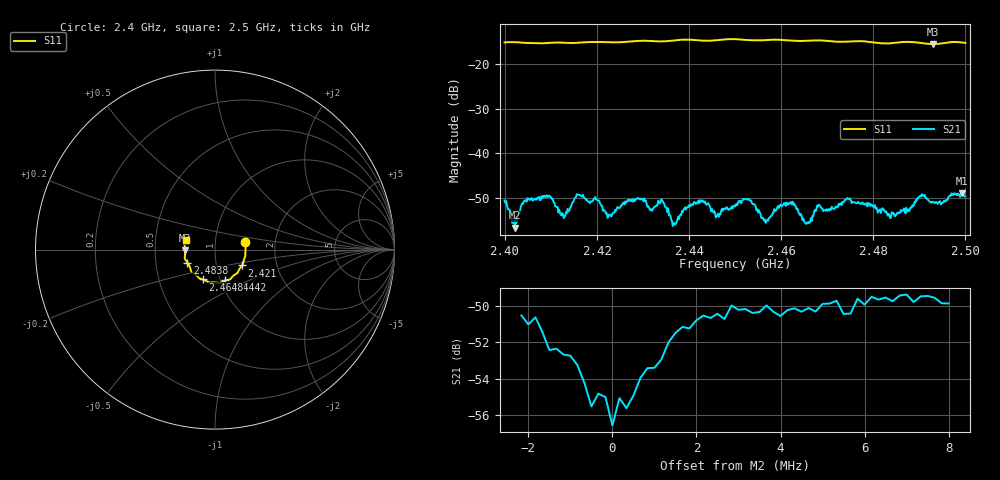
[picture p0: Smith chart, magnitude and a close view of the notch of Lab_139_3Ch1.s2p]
# Hz S RI R 50
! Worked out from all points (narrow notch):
!   601 points, 2.4 GHz to 2.5 GHz, reference 50 ohm
!   highest |S21| = -48.88 dB at 2.4992 GHz (marker M1); lowest = -56.6 dB at 2.4022 GHz (marker M2)
!   notch at M2: 5.1 dB deep, 1.35 MHz wide at half that depth
!   lowest |S11| = -15.6 dB at 2.493 GHz (marker M3), VSWR 1.40, Z = 35.8 - j0.223 ohm
!   |S11| at or under -10 dB: start of sweep to end of sweep
!   S12 and S22 are empty: the file has one direction only
!   S11 on the Smith chart (normalised r, x): 2.4 GHz: 1.40, +0.12; 2.421 GHz: 1.33, -0.24; 2.4442 GHz: 1.05, -0.37; 2.4648 GHz: 0.83, -0.28; 2.4838 GHz: 0.73, -0.11; 2.5 GHz: 0.72, +0.08
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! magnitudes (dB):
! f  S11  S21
! 2.4 GHz  -15.2  -50.5
! 2.4022 GHz  -15.2  -56.6
! 2.4048 GHz  -15.4  -50.7
! 2.4097 GHz  -15.3  -49.4
! 2.4127 GHz  -15.3  -53.6
! 2.4167 GHz  -15.2  -49.4
! 2.421 GHz  -15.2  -51.6
! 2.4333 GHz  -15.0  -50.6
! 2.4368 GHz  -14.8  -55.6
! 2.4442 GHz  -14.9  -51.1
! 2.45 GHz  -14.5  -51.9
! 2.453 GHz  -14.7  -50.2
! 2.4567 GHz  -14.7  -55.5
! 2.4623 GHz  -14.8  -51.4
! 2.4648 GHz  -14.9  -54.6
! 2.4667 GHz  -14.8  -55.1
! 2.4745 GHz  -15.0  -50.0
! 2.4833 GHz  -15.5  -53.5
! 2.4838 GHz  -15.4  -54.4
! 2.493 GHz  -15.6  -50.9
! 2.4992 GHz  -15.2  -48.9
! 2.5 GHz  -15.3  -49.6
